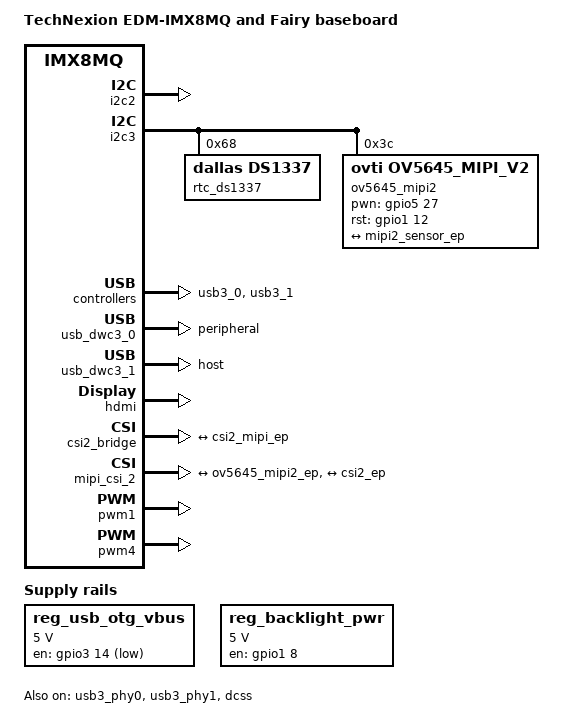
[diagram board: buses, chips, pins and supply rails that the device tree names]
/*
 * Copyright 2019 TechNexion Ltd.
 * Copyright 2017 NXP
 *
 * Author: Richard Hu <richard.hu@technexion.com>
 *         Ray Chang <ray.chang@technexion.com>
 *         Wig Cheng <wig.cheng@technexion.com>
 *
 * This program is free software; you can redistribute it and/or
 * modify it under the terms of the GNU General Public License
 * as published by the Free Software Foundation; either version 2
 * of the License, or (at your option) any later version.
 *
 * This program is distributed in the hope that it will be useful,
 * but WITHOUT ANY WARRANTY; without even the implied warranty of
 * MERCHANTABILITY or FITNESS FOR A PARTICULAR PURPOSE.  See the
 * GNU General Public License for more details.
 */
#include "imx8mq-edm.dtsi"

/ {
	model = "TechNexion EDM-IMX8MQ and Fairy baseboard";
	compatible = "edm,imx8mq-edm", "fsl,imx8mq";

	regulators {
		compatible = "simple-bus";
		#address-cells = <1>;
		#size-cells = <0>;

		reg_usb_otg_vbus: usb_otg_vbus {
			pinctrl-names = "default";
			pinctrl-0 = <&pinctrl_otg_vbus>;
			compatible = "regulator-fixed";
			regulator-name = "usb_otg_vbus";
			regulator-min-microvolt = <5000000>;
			regulator-max-microvolt = <5000000>;
			gpio = <&gpio3 14 GPIO_ACTIVE_LOW>;
		};

		reg_backlight_pwr: regulator_blpwr {
			pinctrl-names = "default";
			pinctrl-0 = <&pinctrl_backlight_pwr>;
			compatible = "regulator-fixed";
			regulator-name = "backlight_pwr";
			regulator-min-microvolt = <5000000>;
			regulator-max-microvolt = <5000000>;
			gpio = <&gpio1 8 GPIO_ACTIVE_HIGH>;
			enable-active-high;
		};
	};

	backlight_mipi {
		compatible = "pwm-backlight";
		pwms = <&pwm1 0 50000 0>;
		brightness-levels = <0 36 72 108 144 180 216 255>;
		default-brightness-level = <6>;
		power-supply = <&reg_backlight_pwr>;
		status = "disabled";
	};

	sound-hdmi {
		compatible = "fsl,imx8mq-evk-cdnhdmi",
				"fsl,imx-audio-cdnhdmi";
		model = "imx-audio-hdmi";
		audio-cpu = <&sai4>;
		protocol = <1>;
		hdmi-out;
		constraint-rate = <44100>,
				<88200>,
				<176400>,
				<32000>,
				<48000>,
				<96000>,
				<192000>;
	};
};

&iomuxc {
	imx8mq-edm {
		pinctrl_otg_vbus: otgvbusgrp {
			fsl,pins = <
				MX8MQ_IOMUXC_NAND_DQS_GPIO3_IO14		0x19   /* USB OTG VBUS Enable */
			>;
		};

		pinctrl_backlight_pwr: backlight_pwrgrp {
			fsl,pins = <
				MX8MQ_IOMUXC_GPIO1_IO08_GPIO1_IO8		0x19
			>;
		};

		pinctrl_dsi_pwm: dsi_pwm {
			fsl,pins = <
				MX8MQ_IOMUXC_GPIO1_IO01_PWM1_OUT		0x16	/* DSI PWM */
			>;
		};

		pinctrl_fan_pwm: fan_pwm {
			fsl,pins = <
				MX8MQ_IOMUXC_SAI3_MCLK_PWM4_OUT			0x16	/* FAN PWM */
			>;
		};

		pinctrl_tusb320_irq: tusb320_irqgrp {
			fsl,pins = <
				MX8MQ_IOMUXC_NAND_READY_B_GPIO3_IO16	0x41
			>;
		};

		pinctrl_csi1: csi1grp {
			fsl,pins = <
				MX8MQ_IOMUXC_UART3_TXD_GPIO5_IO27			0x19   /* CSI P1 PWDN */
				MX8MQ_IOMUXC_GPIO1_IO12_GPIO1_IO12		0x19   /* CSI nRST */
				MX8MQ_IOMUXC_GPIO1_IO15_CCMSRCGPCMIX_CLKO2	0x59
			>;
		};

		pinctrl_mipi_dsi_rst: mipi_dsi_rst {
			fsl,pins = <
				MX8MQ_IOMUXC_GPIO1_IO10_GPIO1_IO10      0x16   /* DSI RST, GPIO_P264 */
			>;
		};

		pinctrl_touch_irq: touch_irqgrp {
			fsl,pins = <
				MX8MQ_IOMUXC_GPIO1_IO07_GPIO1_IO7	0x41
			>;
		};

		pinctrl_touch_rst: touch_rstgrp {
			fsl,pins = <
				MX8MQ_IOMUXC_NAND_WP_B_GPIO3_IO18	0x16	/* GPIO_P260 */
			>;
		};

		pinctrl_gpio_led: gpioledgrp {
			fsl,pins = <
				MX8MQ_IOMUXC_SPDIF_EXT_CLK_GPIO5_IO5	0x19
			>;
		};

		pinctrl_sc16is752: sc16is752grp {
			fsl,pins = <
				MX8MQ_IOMUXC_NAND_CE3_B_GPIO3_IO4	0x41 /* irq */
				MX8MQ_IOMUXC_NAND_ALE_GPIO3_IO0		0x19 /* reset */
			>;
		};

		pinctrl_pca9555: pca9555grp {
			fsl,pins = <
				MX8MQ_IOMUXC_NAND_CE0_B_GPIO3_IO1	0x41 /* irq */
			>;
		};
	};
};

&i2c2 {
	status = "okay";
};

&i2c3 {
	status = "okay";

	rtc_ds1337: ds1337@68 {
		compatible = "dallas,ds1337";
		reg = <0x68>;
	};

	ov5645_mipi2: ov5645_mipi2@3c {
		compatible = "ovti,ov5645_mipi_v2";
		reg = <0x3c>;
		status = "okay";
		pinctrl-names = "default";
		pinctrl-0 = <&pinctrl_csi1>;
		clocks = <&clk IMX8MQ_CLK_CLKO2>;
		clock-names = "csi_mclk";
		assigned-clocks = <&clk IMX8MQ_CLK_CLKO2>;
		assigned-clock-parents = <&clk IMX8MQ_SYS2_PLL_200M>;
		assigned-clock-rates = <24000000>;
		csi_id = <1>;
		pwn-gpios = <&gpio5 27 GPIO_ACTIVE_HIGH>;
		rst-gpios = <&gpio1 12 GPIO_ACTIVE_HIGH>;
		mclk = <24000000>;
		mclk_source = <0>;
		port {
			ov5645_mipi2_ep: endpoint {
				remote-endpoint = <&mipi2_sensor_ep>;
			};
		};
	};
};

&usb3_phy0 {
	status = "okay";
};

&usb3_0 {
	status = "okay";
};

&usb_dwc3_0 {
	dr_mode = "peripheral";
	status = "okay";
};

&usb3_phy1 {
	status = "okay";
};

&usb3_1 {
	status = "okay";
};

&usb_dwc3_1 {
	status = "okay";
	dr_mode = "host";
};

&dcss {
	status = "okay";

	disp-dev = "hdmi_disp";
};

&hdmi {
	status = "okay";
};

&csi2_bridge {
	fsl,mipi-mode;
	fsl,two-8bit-sensor-mode;
	status = "okay";

	port {
		csi2_ep: endpoint {
			remote-endpoint = <&csi2_mipi_ep>;
		};
	};
};

&mipi_csi_2 {
	#address-cells = <1>;
	#size-cells = <0>;
	status = "okay";
	port {
		mipi2_sensor_ep: endpoint1 {
			remote-endpoint = <&ov5645_mipi2_ep>;
			data-lanes = <1 2>;
		};

		csi2_mipi_ep: endpoint2 {
			remote-endpoint = <&csi2_ep>;
		};
	};
};

&pcie0{
	status = "disabled";
};

&pcie1{
	status = "disabled";
};

&pwm1 {
	pinctrl-names = "default";
	pinctrl-0 = <&pinctrl_dsi_pwm>;
	status = "okay";
};

&pwm4 {
	pinctrl-names = "default";
	pinctrl-0 = <&pinctrl_fan_pwm>;
	status = "okay";
};
